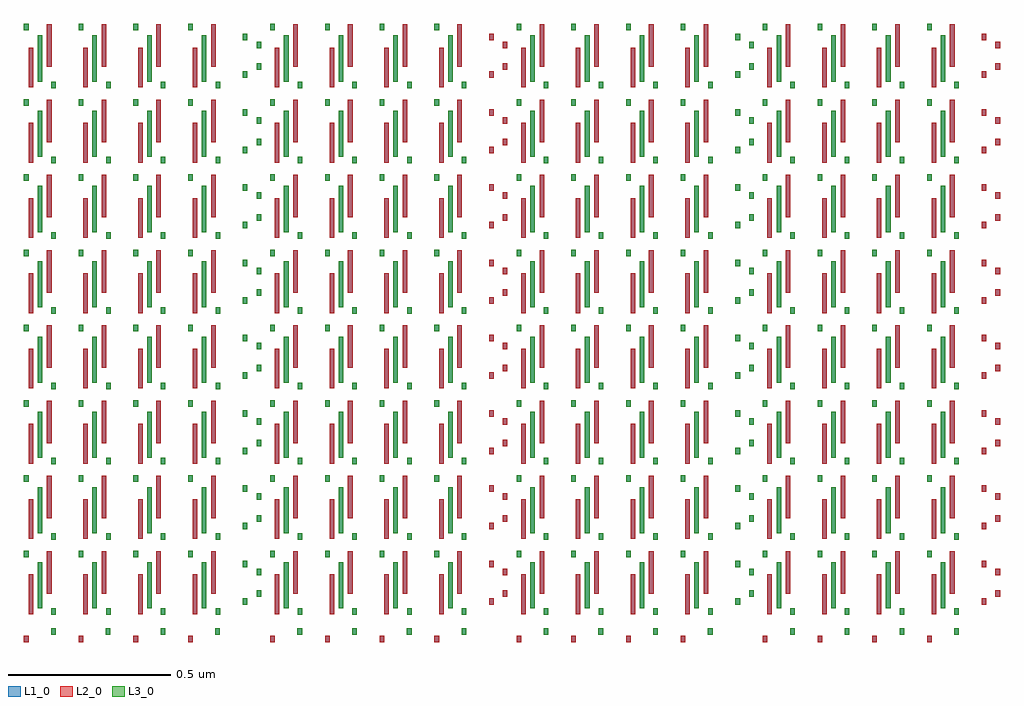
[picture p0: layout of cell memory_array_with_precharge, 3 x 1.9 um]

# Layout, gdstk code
import gdstk
lib = gdstk.Library(unit=1e-6, precision=5e-10)
def R(c, l, rs):  # rectangles x0, y0, x1, y1
    for r in rs: c.add(gdstk.rectangle(r[:2], r[2:], *l))
def A(c, l, x, y, w, h, nx, ny, dx, dy):  # array of equal rectangles
    R(c, l, [(x+i*dx, y+j*dy, x+i*dx+w, y+j*dy+h) for i in range(nx) for j in range(ny)])
L1_0 = (1, 0)
L2_0 = (2, 0)
L3_0 = (3, 0)

sram_6t = lib.new_cell('sram_6t')
R(sram_6t, L1_0, [(0.1055,0.0325,0.1195,0.0525), (0.0355,0.0345,0.0495,0.157), (0.0635,0.0525,0.0775,0.194), (0.092,0.098,0.106,0.2285), (0.0215,0.21,0.0355,0.23)])
R(sram_6t, L2_0, [(0.0355,0.0345,0.0495,0.157), (0.092,0.098,0.106,0.2285)])
R(sram_6t, L3_0, [(0.1055,0.0325,0.1195,0.0525), (0.0635,0.0525,0.0775,0.194), (0.0215,0.21,0.0355,0.23)])

proto_hold_precharge_log = lib.new_cell('PROTO_HOLD_precharge_logic_3Q')
R(proto_hold_precharge_log, L1_0, [(-0.1675,-0.083,-0.1535,-0.063), (-0.084,-0.0595,-0.07,-0.0395)])
R(proto_hold_precharge_log, L2_0, [(-0.1675,-0.083,-0.1535,-0.063)])
R(proto_hold_precharge_log, L3_0, [(-0.084,-0.0595,-0.07,-0.0395)])

memory_array_with_precha = lib.new_cell('memory_array_with_precharge')
A(memory_array_with_precha, L1_0, 0.7, 0.1795, 0.014, 0.02, 4, 2, 0.756, 0.115)
A(memory_array_with_precha, L1_0, 0.742, 0.2035, 0.014, 0.02, 4, 2, 0.756, 0.0665)
A(memory_array_with_precha, L1_0, 0.7, 0.4105, 0.014, 0.02, 4, 2, 0.756, 0.115)
A(memory_array_with_precha, L1_0, 0.742, 0.4345, 0.014, 0.02, 4, 2, 0.756, 0.0665)
A(memory_array_with_precha, L1_0, 0.7, 0.6415, 0.014, 0.02, 4, 2, 0.756, 0.115)
A(memory_array_with_precha, L1_0, 0.742, 0.6655, 0.014, 0.02, 4, 2, 0.756, 0.0665)
A(memory_array_with_precha, L1_0, 0.7, 0.8725, 0.014, 0.02, 4, 2, 0.756, 0.115)
A(memory_array_with_precha, L1_0, 0.742, 0.8965, 0.014, 0.02, 4, 2, 0.756, 0.0665)
A(memory_array_with_precha, L1_0, 0.7, 1.1035, 0.014, 0.02, 4, 2, 0.756, 0.115)
A(memory_array_with_precha, L1_0, 0.742, 1.1275, 0.014, 0.02, 4, 2, 0.756, 0.0665)
A(memory_array_with_precha, L1_0, 0.7, 1.3345, 0.014, 0.02, 4, 2, 0.756, 0.115)
A(memory_array_with_precha, L1_0, 0.742, 1.3585, 0.014, 0.02, 4, 2, 0.756, 0.0665)
A(memory_array_with_precha, L1_0, 0.7, 1.5655, 0.014, 0.02, 4, 2, 0.756, 0.115)
A(memory_array_with_precha, L1_0, 0.742, 1.5895, 0.014, 0.02, 4, 2, 0.756, 0.0665)
A(memory_array_with_precha, L1_0, 0.7, 1.797, 0.014, 0.02, 4, 2, 0.756, 0.115)
A(memory_array_with_precha, L1_0, 0.742, 1.821, 0.014, 0.02, 4, 2, 0.756, 0.0665)
R(memory_array_with_precha, L2_0, [(1.456,0.1795,1.47,0.1995), (2.968,0.1795,2.982,0.1995), (1.498,0.2035,1.512,0.2235), (3.01,0.2035,3.024,0.2235), (1.498,0.27,1.512,0.29), (3.01,0.27,3.024,0.29), (1.456,0.2945,1.47,0.3145), (2.968,0.2945,2.982,0.3145), (1.456,0.4105,1.47,0.4305), (2.968,0.4105,2.982,0.4305), (1.498,0.4345,1.512,0.4545), (3.01,0.4345,3.024,0.4545), (1.498,0.501,1.512,0.521), (3.01,0.501,3.024,0.521), (1.456,0.5255,1.47,0.5455), (2.968,0.5255,2.982,0.5455), (1.456,0.6415,1.47,0.6615), (2.968,0.6415,2.982,0.6615), (1.498,0.6655,1.512,0.6855), (3.01,0.6655,3.024,0.6855), (1.498,0.732,1.512,0.752), (3.01,0.732,3.024,0.752), (1.456,0.7565,1.47,0.7765), (2.968,0.7565,2.982,0.7765), (1.456,0.8725,1.47,0.8925), (2.968,0.8725,2.982,0.8925), (1.498,0.8965,1.512,0.9165), (3.01,0.8965,3.024,0.9165), (1.498,0.963,1.512,0.983), (3.01,0.963,3.024,0.983), (1.456,0.9875,1.47,1.0075), (2.968,0.9875,2.982,1.0075), (1.456,1.1035,1.47,1.1235), (2.968,1.1035,2.982,1.1235), (1.498,1.1275,1.512,1.1475), (3.01,1.1275,3.024,1.1475), (1.498,1.194,1.512,1.214), (3.01,1.194,3.024,1.214), (1.456,1.2185,1.47,1.2385), (2.968,1.2185,2.982,1.2385), (1.456,1.3345,1.47,1.3545), (2.968,1.3345,2.982,1.3545), (1.498,1.3585,1.512,1.3785), (3.01,1.3585,3.024,1.3785), (1.498,1.425,1.512,1.445), (3.01,1.425,3.024,1.445), (1.456,1.4495,1.47,1.4695), (2.968,1.4495,2.982,1.4695), (1.456,1.5655,1.47,1.5855), (2.968,1.5655,2.982,1.5855), (1.498,1.5895,1.512,1.6095), (3.01,1.5895,3.024,1.6095), (1.498,1.656,1.512,1.676), (3.01,1.656,3.024,1.676), (1.456,1.6805,1.47,1.7005), (2.968,1.6805,2.982,1.7005), (1.456,1.797,1.47,1.817), (2.968,1.797,2.982,1.817), (1.498,1.821,1.512,1.841), (3.01,1.821,3.024,1.841), (1.498,1.8875,1.512,1.9075), (3.01,1.8875,3.024,1.9075), (1.456,1.912,1.47,1.932), (2.968,1.912,2.982,1.932)])
R(memory_array_with_precha, L3_0, [(0.7,0.1795,0.714,0.1995), (2.212,0.1795,2.226,0.1995), (0.742,0.2035,0.756,0.2235), (2.254,0.2035,2.268,0.2235), (0.742,0.27,0.756,0.29), (2.254,0.27,2.268,0.29), (0.7,0.2945,0.714,0.3145), (2.212,0.2945,2.226,0.3145), (0.7,0.4105,0.714,0.4305), (2.212,0.4105,2.226,0.4305), (0.742,0.4345,0.756,0.4545), (2.254,0.4345,2.268,0.4545), (0.742,0.501,0.756,0.521), (2.254,0.501,2.268,0.521), (0.7,0.5255,0.714,0.5455), (2.212,0.5255,2.226,0.5455), (0.7,0.6415,0.714,0.6615), (2.212,0.6415,2.226,0.6615), (0.742,0.6655,0.756,0.6855), (2.254,0.6655,2.268,0.6855), (0.742,0.732,0.756,0.752), (2.254,0.732,2.268,0.752), (0.7,0.7565,0.714,0.7765), (2.212,0.7565,2.226,0.7765), (0.7,0.8725,0.714,0.8925), (2.212,0.8725,2.226,0.8925), (0.742,0.8965,0.756,0.9165), (2.254,0.8965,2.268,0.9165), (0.742,0.963,0.756,0.983), (2.254,0.963,2.268,0.983), (0.7,0.9875,0.714,1.0075), (2.212,0.9875,2.226,1.0075), (0.7,1.1035,0.714,1.1235), (2.212,1.1035,2.226,1.1235), (0.742,1.1275,0.756,1.1475), (2.254,1.1275,2.268,1.1475), (0.742,1.194,0.756,1.214), (2.254,1.194,2.268,1.214), (0.7,1.2185,0.714,1.2385), (2.212,1.2185,2.226,1.2385), (0.7,1.3345,0.714,1.3545), (2.212,1.3345,2.226,1.3545), (0.742,1.3585,0.756,1.3785), (2.254,1.3585,2.268,1.3785), (0.742,1.425,0.756,1.445), (2.254,1.425,2.268,1.445), (0.7,1.4495,0.714,1.4695), (2.212,1.4495,2.226,1.4695), (0.7,1.5655,0.714,1.5855), (2.212,1.5655,2.226,1.5855), (0.742,1.5895,0.756,1.6095), (2.254,1.5895,2.268,1.6095), (0.742,1.656,0.756,1.676), (2.254,1.656,2.268,1.676), (0.7,1.6805,0.714,1.7005), (2.212,1.6805,2.226,1.7005), (0.7,1.797,0.714,1.817), (2.212,1.797,2.226,1.817), (0.742,1.821,0.756,1.841), (2.254,1.821,2.268,1.841), (0.742,1.8875,0.756,1.9075), (2.254,1.8875,2.268,1.9075), (0.7,1.912,0.714,1.932), (2.212,1.912,2.226,1.932)])
memory_array_with_precha.add(gdstk.Reference(sram_6t, (0.1745,1.7325)))
memory_array_with_precha.add(gdstk.Reference(sram_6t, (0.3425,1.7325)))
memory_array_with_precha.add(gdstk.Reference(sram_6t, (0.5105,1.7325)))
memory_array_with_precha.add(gdstk.Reference(sram_6t, (0.0065,1.7325)))
memory_array_with_precha.add(gdstk.Reference(sram_6t, (0.5105,1.5015)))
memory_array_with_precha.add(gdstk.Reference(sram_6t, (0.3425,1.5015)))
memory_array_with_precha.add(gdstk.Reference(sram_6t, (0.1745,1.5015)))
memory_array_with_precha.add(gdstk.Reference(sram_6t, (0.0065,1.5015)))
memory_array_with_precha.add(gdstk.Reference(sram_6t, (0.0065,1.2705)))
memory_array_with_precha.add(gdstk.Reference(sram_6t, (0.5105,1.2705)))
memory_array_with_precha.add(gdstk.Reference(sram_6t, (0.3425,1.2705)))
memory_array_with_precha.add(gdstk.Reference(sram_6t, (0.1745,1.2705)))
memory_array_with_precha.add(gdstk.Reference(sram_6t, (0.0065,1.0395)))
memory_array_with_precha.add(gdstk.Reference(sram_6t, (0.1745,1.0395)))
memory_array_with_precha.add(gdstk.Reference(sram_6t, (0.3425,1.0395)))
memory_array_with_precha.add(gdstk.Reference(sram_6t, (0.5105,1.0395)))
memory_array_with_precha.add(gdstk.Reference(sram_6t, (0.1745,0.8085)))
memory_array_with_precha.add(gdstk.Reference(sram_6t, (0.3425,0.8085)))
memory_array_with_precha.add(gdstk.Reference(sram_6t, (0.5105,0.8085)))
memory_array_with_precha.add(gdstk.Reference(sram_6t, (0.0065,0.8085)))
memory_array_with_precha.add(gdstk.Reference(sram_6t, (0.5105,0.5775)))
memory_array_with_precha.add(gdstk.Reference(sram_6t, (0.3425,0.5775)))
memory_array_with_precha.add(gdstk.Reference(sram_6t, (0.1745,0.5775)))
memory_array_with_precha.add(gdstk.Reference(sram_6t, (0.0065,0.3465)))
memory_array_with_precha.add(gdstk.Reference(sram_6t, (0.0065,0.1155)))
memory_array_with_precha.add(gdstk.Reference(sram_6t, (0.5105,0.3465)))
memory_array_with_precha.add(gdstk.Reference(sram_6t, (0.3425,0.3465)))
memory_array_with_precha.add(gdstk.Reference(sram_6t, (0.1745,0.3465)))
memory_array_with_precha.add(gdstk.Reference(sram_6t, (0.1745,0.1155)))
memory_array_with_precha.add(gdstk.Reference(sram_6t, (0.3425,0.1155)))
memory_array_with_precha.add(gdstk.Reference(sram_6t, (0.5105,0.1155)))
memory_array_with_precha.add(gdstk.Reference(sram_6t, (0.0065,0.5775)))
memory_array_with_precha.add(gdstk.Reference(sram_6t, (0.7625,0.1155)))
memory_array_with_precha.add(gdstk.Reference(sram_6t, (0.9305,0.1155)))
memory_array_with_precha.add(gdstk.Reference(sram_6t, (1.0985,0.1155)))
memory_array_with_precha.add(gdstk.Reference(sram_6t, (1.2665,0.1155)))
memory_array_with_precha.add(gdstk.Reference(sram_6t, (1.2665,0.3465)))
memory_array_with_precha.add(gdstk.Reference(sram_6t, (1.0985,0.3465)))
memory_array_with_precha.add(gdstk.Reference(sram_6t, (0.9305,0.3465)))
memory_array_with_precha.add(gdstk.Reference(sram_6t, (0.7625,0.3465)))
memory_array_with_precha.add(gdstk.Reference(sram_6t, (0.7625,0.5775)))
memory_array_with_precha.add(gdstk.Reference(sram_6t, (0.9305,0.5775)))
memory_array_with_precha.add(gdstk.Reference(sram_6t, (1.0985,0.5775)))
memory_array_with_precha.add(gdstk.Reference(sram_6t, (1.2665,0.5775)))
memory_array_with_precha.add(gdstk.Reference(sram_6t, (0.7625,0.8085)))
memory_array_with_precha.add(gdstk.Reference(sram_6t, (1.2665,0.8085)))
memory_array_with_precha.add(gdstk.Reference(sram_6t, (1.0985,0.8085)))
memory_array_with_precha.add(gdstk.Reference(sram_6t, (0.9305,0.8085)))
memory_array_with_precha.add(gdstk.Reference(sram_6t, (1.2665,1.0395)))
memory_array_with_precha.add(gdstk.Reference(sram_6t, (1.0985,1.0395)))
memory_array_with_precha.add(gdstk.Reference(sram_6t, (0.9305,1.0395)))
memory_array_with_precha.add(gdstk.Reference(sram_6t, (0.7625,1.0395)))
memory_array_with_precha.add(gdstk.Reference(sram_6t, (0.9305,1.2705)))
memory_array_with_precha.add(gdstk.Reference(sram_6t, (1.0985,1.2705)))
memory_array_with_precha.add(gdstk.Reference(sram_6t, (1.2665,1.2705)))
memory_array_with_precha.add(gdstk.Reference(sram_6t, (0.7625,1.2705)))
memory_array_with_precha.add(gdstk.Reference(sram_6t, (0.7625,1.5015)))
memory_array_with_precha.add(gdstk.Reference(sram_6t, (0.9305,1.5015)))
memory_array_with_precha.add(gdstk.Reference(sram_6t, (1.0985,1.5015)))
memory_array_with_precha.add(gdstk.Reference(sram_6t, (1.2665,1.5015)))
memory_array_with_precha.add(gdstk.Reference(sram_6t, (0.7625,1.7325)))
memory_array_with_precha.add(gdstk.Reference(sram_6t, (1.2665,1.7325)))
memory_array_with_precha.add(gdstk.Reference(sram_6t, (1.0985,1.7325)))
memory_array_with_precha.add(gdstk.Reference(sram_6t, (0.9305,1.7325)))
memory_array_with_precha.add(gdstk.Reference(sram_6t, (2.0225,1.0395)))
memory_array_with_precha.add(gdstk.Reference(sram_6t, (2.0225,1.2705)))
memory_array_with_precha.add(gdstk.Reference(sram_6t, (2.0225,1.5015)))
memory_array_with_precha.add(gdstk.Reference(sram_6t, (2.0225,1.7325)))
memory_array_with_precha.add(gdstk.Reference(sram_6t, (2.4425,1.7325)))
memory_array_with_precha.add(gdstk.Reference(sram_6t, (2.6105,1.7325)))
memory_array_with_precha.add(gdstk.Reference(sram_6t, (2.7785,1.7325)))
memory_array_with_precha.add(gdstk.Reference(sram_6t, (2.2745,1.7325)))
memory_array_with_precha.add(gdstk.Reference(sram_6t, (2.7785,1.5015)))
memory_array_with_precha.add(gdstk.Reference(sram_6t, (2.6105,1.5015)))
memory_array_with_precha.add(gdstk.Reference(sram_6t, (2.4425,1.5015)))
memory_array_with_precha.add(gdstk.Reference(sram_6t, (2.2745,1.5015)))
memory_array_with_precha.add(gdstk.Reference(sram_6t, (2.2745,1.2705)))
memory_array_with_precha.add(gdstk.Reference(sram_6t, (2.7785,1.2705)))
memory_array_with_precha.add(gdstk.Reference(sram_6t, (2.6105,1.2705)))
memory_array_with_precha.add(gdstk.Reference(sram_6t, (2.4425,1.2705)))
memory_array_with_precha.add(gdstk.Reference(sram_6t, (2.2745,1.0395)))
memory_array_with_precha.add(gdstk.Reference(sram_6t, (2.4425,1.0395)))
memory_array_with_precha.add(gdstk.Reference(sram_6t, (2.6105,1.0395)))
memory_array_with_precha.add(gdstk.Reference(sram_6t, (2.7785,1.0395)))
memory_array_with_precha.add(gdstk.Reference(sram_6t, (2.4425,0.8085)))
memory_array_with_precha.add(gdstk.Reference(sram_6t, (2.6105,0.8085)))
memory_array_with_precha.add(gdstk.Reference(sram_6t, (2.7785,0.8085)))
memory_array_with_precha.add(gdstk.Reference(sram_6t, (2.2745,0.8085)))
memory_array_with_precha.add(gdstk.Reference(sram_6t, (2.7785,0.5775)))
memory_array_with_precha.add(gdstk.Reference(sram_6t, (2.6105,0.5775)))
memory_array_with_precha.add(gdstk.Reference(sram_6t, (2.4425,0.5775)))
memory_array_with_precha.add(gdstk.Reference(sram_6t, (2.2745,0.5775)))
memory_array_with_precha.add(gdstk.Reference(sram_6t, (2.2745,0.3465)))
memory_array_with_precha.add(gdstk.Reference(sram_6t, (2.4425,0.3465)))
memory_array_with_precha.add(gdstk.Reference(sram_6t, (2.6105,0.3465)))
memory_array_with_precha.add(gdstk.Reference(sram_6t, (2.7785,0.3465)))
memory_array_with_precha.add(gdstk.Reference(sram_6t, (1.5185,0.1155)))
memory_array_with_precha.add(gdstk.Reference(sram_6t, (1.6865,0.1155)))
memory_array_with_precha.add(gdstk.Reference(sram_6t, (1.8545,0.1155)))
memory_array_with_precha.add(gdstk.Reference(sram_6t, (2.0225,0.1155)))
memory_array_with_precha.add(gdstk.Reference(sram_6t, (1.8545,0.3465)))
memory_array_with_precha.add(gdstk.Reference(sram_6t, (1.6865,0.3465)))
memory_array_with_precha.add(gdstk.Reference(sram_6t, (1.5185,0.3465)))
memory_array_with_precha.add(gdstk.Reference(sram_6t, (1.5185,0.5775)))
memory_array_with_precha.add(gdstk.Reference(sram_6t, (1.6865,0.5775)))
memory_array_with_precha.add(gdstk.Reference(sram_6t, (1.8545,0.5775)))
memory_array_with_precha.add(gdstk.Reference(sram_6t, (1.5185,0.8085)))
memory_array_with_precha.add(gdstk.Reference(sram_6t, (1.8545,0.8085)))
memory_array_with_precha.add(gdstk.Reference(sram_6t, (1.6865,0.8085)))
memory_array_with_precha.add(gdstk.Reference(sram_6t, (1.8545,1.0395)))
memory_array_with_precha.add(gdstk.Reference(sram_6t, (1.6865,1.0395)))
memory_array_with_precha.add(gdstk.Reference(sram_6t, (1.5185,1.0395)))
memory_array_with_precha.add(gdstk.Reference(sram_6t, (1.6865,1.2705)))
memory_array_with_precha.add(gdstk.Reference(sram_6t, (1.8545,1.2705)))
memory_array_with_precha.add(gdstk.Reference(sram_6t, (1.5185,1.2705)))
memory_array_with_precha.add(gdstk.Reference(sram_6t, (1.5185,1.5015)))
memory_array_with_precha.add(gdstk.Reference(sram_6t, (1.6865,1.5015)))
memory_array_with_precha.add(gdstk.Reference(sram_6t, (1.8545,1.5015)))
memory_array_with_precha.add(gdstk.Reference(sram_6t, (1.5185,1.7325)))
memory_array_with_precha.add(gdstk.Reference(sram_6t, (1.8545,1.7325)))
memory_array_with_precha.add(gdstk.Reference(sram_6t, (1.6865,1.7325)))
memory_array_with_precha.add(gdstk.Reference(sram_6t, (2.7785,0.1155)))
memory_array_with_precha.add(gdstk.Reference(sram_6t, (2.6105,0.1155)))
memory_array_with_precha.add(gdstk.Reference(sram_6t, (2.4425,0.1155)))
memory_array_with_precha.add(gdstk.Reference(sram_6t, (2.2745,0.1155)))
memory_array_with_precha.add(gdstk.Reference(sram_6t, (2.0225,0.3465)))
memory_array_with_precha.add(gdstk.Reference(sram_6t, (2.0225,0.5775)))
memory_array_with_precha.add(gdstk.Reference(sram_6t, (2.0225,0.8085)))
memory_array_with_precha.add(gdstk.Reference(proto_hold_precharge_log, (1.7075,0.147)))
memory_array_with_precha.add(gdstk.Reference(proto_hold_precharge_log, (1.8755,0.147)))
memory_array_with_precha.add(gdstk.Reference(proto_hold_precharge_log, (2.0435,0.147)))
memory_array_with_precha.add(gdstk.Reference(proto_hold_precharge_log, (2.2115,0.147)))
memory_array_with_precha.add(gdstk.Reference(proto_hold_precharge_log, (2.9675,0.147)))
memory_array_with_precha.add(gdstk.Reference(proto_hold_precharge_log, (2.7995,0.147)))
memory_array_with_precha.add(gdstk.Reference(proto_hold_precharge_log, (2.6315,0.147)))
memory_array_with_precha.add(gdstk.Reference(proto_hold_precharge_log, (2.4635,0.147)))
memory_array_with_precha.add(gdstk.Reference(proto_hold_precharge_log, (0.9515,0.147)))
memory_array_with_precha.add(gdstk.Reference(proto_hold_precharge_log, (1.1195,0.147)))
memory_array_with_precha.add(gdstk.Reference(proto_hold_precharge_log, (1.2875,0.147)))
memory_array_with_precha.add(gdstk.Reference(proto_hold_precharge_log, (1.4555,0.147)))
memory_array_with_precha.add(gdstk.Reference(proto_hold_precharge_log, (0.1955,0.147)))
memory_array_with_precha.add(gdstk.Reference(proto_hold_precharge_log, (0.3635,0.147)))
memory_array_with_precha.add(gdstk.Reference(proto_hold_precharge_log, (0.5315,0.147)))
memory_array_with_precha.add(gdstk.Reference(proto_hold_precharge_log, (0.6995,0.147)))

lib.write_gds('memory_array_with_precharge.gds')
